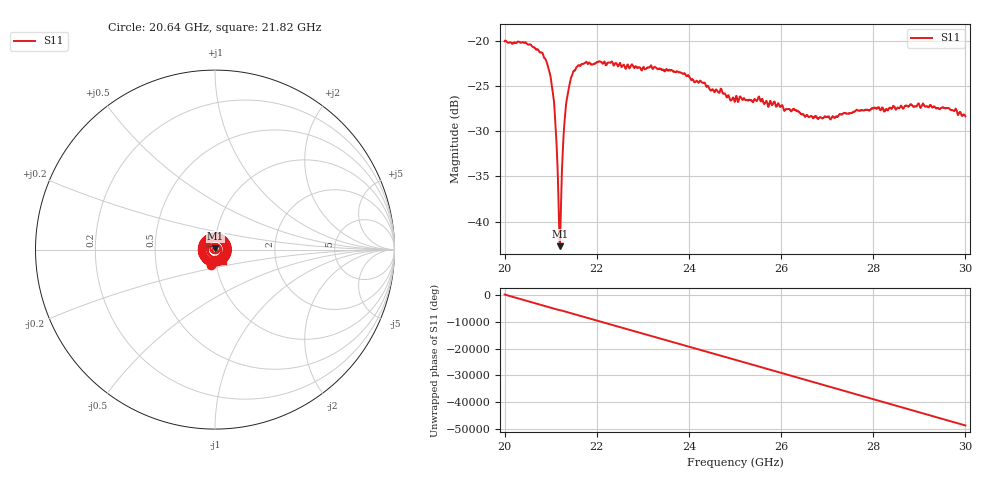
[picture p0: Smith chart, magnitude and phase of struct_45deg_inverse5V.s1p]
#  HZ  S  RI  R  50.00
! Rohde & Schwarz ZVA40 4Ports - Version 3.90 - 1145.1110k42 SN: 100403
! Date: 2023-09-30 08:39:58
! Measurement: S12
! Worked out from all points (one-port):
!   5001 points, 20 GHz to 30 GHz, reference 50 ohm
!   lowest |S11| = -42.7 dB at 21.2 GHz (marker M1), VSWR 1.01, Z = 50.1 + j0.729 ohm
!   |S11| at or under -10 dB: start of sweep to end of sweep
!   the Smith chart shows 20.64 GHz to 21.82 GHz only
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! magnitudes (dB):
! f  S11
! 20 GHz  -20.1
! 20.57 GHz  -20.5
! 20.8 GHz  -21.3
! 20.93 GHz  -22.6
! 21.01 GHz  -24.6
! 21.07 GHz  -26.7
! 21.11 GHz  -29.9
! 21.17 GHz  -37.5
! 21.18 GHz  -40.5
! 21.2 GHz  -42.7
! 21.22 GHz  -38.2
! 21.25 GHz  -33.7
! 21.27 GHz  -31.4
! 21.29 GHz  -29.8
! 21.34 GHz  -26.9
! 21.41 GHz  -24.8
! 21.51 GHz  -23.3
! 21.75 GHz  -22.5
! 22.5 GHz  -22.5
! 23.75 GHz  -23.4
! 25 GHz  -26.7
! 25.55 GHz  -26.6
! 26.25 GHz  -27.6
! 26.83 GHz  -28.5
! 27.5 GHz  -28.0
! 28.75 GHz  -27.3
! 29.61 GHz  -27.5
! 30 GHz  -28.4
